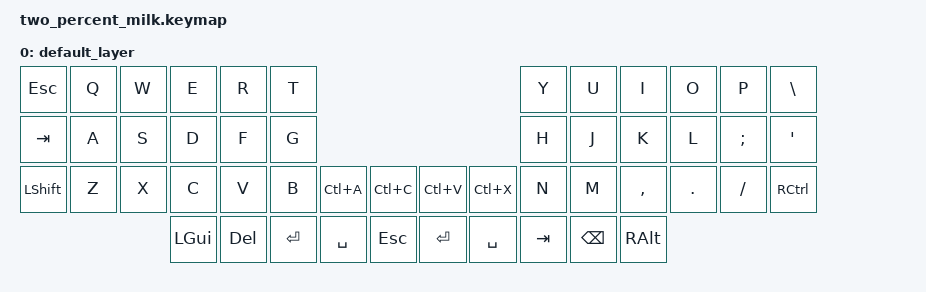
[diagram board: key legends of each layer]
/*
 * Copyright (c) 2022 The ZMK Contributors
 *
 * SPDX-License-Identifier: MIT
 */

#include <behaviors.dtsi>
#include <dt-bindings/zmk/keys.h>
#include <dt-bindings/zmk/bt.h>

/ {
    keymap {
        compatible = "zmk,keymap";

        default_layer {
//            bindings = <
//                &kp X
//                &kp Z
//            >;

// --------------------------------------------------------------------------------------------------------------------------------------------------------------------
// |   ESC   |    Q    |    W    |    E    |    R    |    T    |                                          |    Y    |    U    |    I    |    O    |    P    |    \    |
// |   TAB   |    A    |    S    |    D    |    F    |    G    |                                          |    H    |    J    |    K    |    L    |    ;    |    '    |
// |  SHIFT  |    Z    |    X    |    C    |    V    |    B    | CTRL+A  | CTRL+C  |  |  CTRL+V |  CTRL+X |    N    |    M    |    ,    |    .    |    /    |  R CTRL |
//                               |   GUI   |   DEL   | RETURN  |  SPACE  | ESCAPE  |  |  RETURN |  SPACE  |   TAB   |   BSPC  |  R ALT  |
            bindings = <
    &kp ESC    &kp Q    &kp W    &kp E     &kp R     &kp T                                                 &kp Y     &kp U     &kp I     &kp O     &kp P    &kp BSLH
    &kp TAB    &kp A    &kp S    &kp D     &kp F     &kp G                                                 &kp H     &kp J     &kp K     &kp L     &kp SEMI &kp SQT
    &kp LSHIFT &kp Z    &kp X    &kp C     &kp V     &kp B      &kp LC(A) &kp LC(C)    &kp LC(V) &kp LC(X) &kp N     &kp M     &kp COMMA &kp DOT   &kp FSLH &kp RCTRL
                                 &kp LGUI  &kp DEL   &kp RET    &kp SPACE &kp ESC      &kp RET   &kp SPACE &kp TAB   &kp BSPC  &kp RALT
            >;

//      bindings = <
//        &kp ESCAPE &kp F1       &kp F2       &kp F3       &kp F4       &kp F5       &kp F6       &kp F7       &kp F8       &kp F9       &kp F10      &kp F11             &kp F12   &mo BASIC         &mo DELPHI    &mo BASIC
//        &kp GRAVE  &kp NUMBER_1 &kp NUMBER_2 &kp NUMBER_3 &kp NUMBER_4 &kp NUMBER_5 &kp NUMBER_6 &kp NUMBER_7 &kp NUMBER_8 &kp NUMBER_9 &kp NUMBER_0 &kp MINUS           &kp EQUAL &kp BACKSLASH     &kp BACKSPACE &kp PRINTSCREEN &kp SCROLLLOCK &kp PAUSE_BREAK &kp KP_NUMLOCK &kp KP_DIVIDE &kp KP_MULTIPLY &kp KP_MINUS
//        &kp TAB    &kp Q        &kp W        &kp E        &kp R        &kp T        &kp Y        &kp U        &kp I        &kp O        &kp P        &kp LEFT_BRACKET    &kp RIGHT_BRACKET &kp INSERT    &kp HOME        &kp PG_UP      &kp KP_NUMBER_7 &kp KP_NUMBER_8 &kp KP_NUMBER_9 &kp KP_PLUS
//        &kp CAPSLOCK &kp A &kp S &kp D &kp F &kp G &kp H &kp J &kp K &kp L &kp SEMICOLON &kp SINGLE_QUOTE &kp RETURN &kp DEL &kp END &kp PG_DN &kp KP_NUMBER_4 &kp KP_NUMBER_5 &kp KP_NUMBER_6 &kp KP_PLUS
//        &kp LEFT_SHIFT &kp Z &kp X &kp C &kp V &kp B &kp N &kp M &kp COMMA &kp DOT &kp SLASH &kp RIGHT_SHIFT &kp UP &kp KP_NUMBER_1 &kp KP_NUMBER_2 &kp KP_NUMBER_3 &kp KP_ENTER
//        &kp LEFT_CONTROL &kp LEFT_GUI &kp LEFT_ALT &kp LANGUAGE_2 &mo BASIC &kp SPACE &mo DELPHI &kp LANGUAGE_1 &kp RIGHT_ALT &kp RIGHT_GUI &kp RIGHT_CONTROL &kp LEFT &kp DOWN &kp RIGHT &kp KP_NUMBER_0 &kp KP_NUMBER_0 &kp DEL &kp KP_ENTER 
      >;
        };
    };
};
